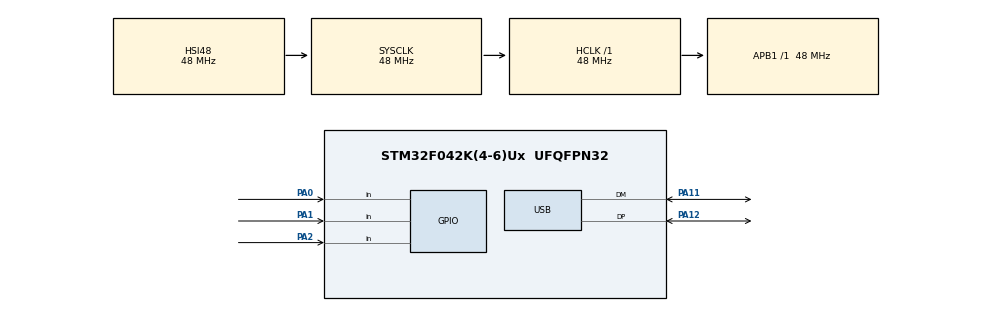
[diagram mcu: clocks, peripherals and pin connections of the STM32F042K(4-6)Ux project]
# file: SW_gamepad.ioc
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FREERTOS.BinarySemaphores01=myBinarySem01,Dynamic,NULL
FREERTOS.Tasks01=defaultTask,0,128,StartDefaultTask,Default,NULL
Mcu.Family=STM32F0
Mcu.Name=STM32F042K(4-6)Ux
Mcu.Package=UFQFPN32
NVIC.TIM3_IRQn=true\:0\:0\:false\:false\:true\:false\:false
NVIC.TimeBase=TIM3_IRQn
NVIC.TimeBaseIP=TIM3
PA0.Signal=GPIO_Input
PA1.Signal=GPIO_Input
PA11.Mode=Device
PA11.Signal=USB_DM
PA12.Mode=Device
PA12.Signal=USB_DP
PA2.Signal=GPIO_Input
PF0-OSC_IN.Mode=HSE-External-Oscillator
PF0-OSC_IN.Signal=RCC_OSC_IN
PF1-OSC_OUT.Mode=HSE-External-Oscillator
PF1-OSC_OUT.Signal=RCC_OSC_OUT
ProjectManager.HeapSize=0x0
ProjectManager.StackSize=0x400
ProjectManager.TargetToolchain=TrueSTUDIO
RCC.AHBFreq_Value=48000000
RCC.APB1Freq_Value=48000000
RCC.APB1TimFreq_Value=48000000
RCC.HCLKFreq_Value=48000000
RCC.HSE_VALUE=24000000
RCC.SYSCLKFreq_VALUE=48000000
RCC.SYSCLKSource=RCC_SYSCLKSOURCE_HSI48
RCC.USBClockSelection=RCC_USBCLKSOURCE_PLL
VP_FREERTOS_VS_ENABLE.Mode=Enabled
VP_SYS_VS_tim3.Mode=TIM3
board=custom

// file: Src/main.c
/* USER CODE BEGIN Header */
/**
  ******************************************************************************
  * @file           : main.c
  * @brief          : Main program body
  ******************************************************************************
  * This notice applies to any and all portions of this file
  * that are not between comment pairs USER CODE BEGIN and
  * USER CODE END. Other portions of this file, whether
  * inserted by the user or by software development tools
  * are owned by their respective copyright owners.
  *
  * Copyright (c) 2019 STMicroelectronics International N.V.
  * All rights reserved.
  *
  * Redistribution and use in source and binary forms, with or without
  * modification, are permitted, provided that the following conditions are met:
  *
  * 1. Redistribution of source code must retain the above copyright notice,
  *    this list of conditions and the following disclaimer.
  * 2. Redistributions in binary form must reproduce the above copyright notice,
  *    this list of conditions and the following disclaimer in the documentation
  *    and/or other materials provided with the distribution.
  * 3. Neither the name of STMicroelectronics nor the names of other
  *    contributors to this software may be used to endorse or promote products
  *    derived from this software without specific written permission.
  * 4. This software, including modifications and/or derivative works of this
  *    software, must execute solely and exclusively on microcontroller or
  *    microprocessor devices manufactured by or for STMicroelectronics.
  * 5. Redistribution and use of this software other than as permitted under
  *    this license is void and will automatically terminate your rights under
  *    this license.
  *
  * THIS SOFTWARE IS PROVIDED BY STMICROELECTRONICS AND CONTRIBUTORS "AS IS"
  * AND ANY EXPRESS, IMPLIED OR STATUTORY WARRANTIES, INCLUDING, BUT NOT
  * LIMITED TO, THE IMPLIED WARRANTIES OF MERCHANTABILITY, FITNESS FOR A
  * PARTICULAR PURPOSE AND NON-INFRINGEMENT OF THIRD PARTY INTELLECTUAL PROPERTY
  * RIGHTS ARE DISCLAIMED TO THE FULLEST EXTENT PERMITTED BY LAW. IN NO EVENT
  * SHALL STMICROELECTRONICS OR CONTRIBUTORS BE LIABLE FOR ANY DIRECT, INDIRECT,
  * INCIDENTAL, SPECIAL, EXEMPLARY, OR CONSEQUENTIAL DAMAGES (INCLUDING, BUT NOT
  * LIMITED TO, PROCUREMENT OF SUBSTITUTE GOODS OR SERVICES; LOSS OF USE, DATA,
  * OR PROFITS; OR BUSINESS INTERRUPTION) HOWEVER CAUSED AND ON ANY THEORY OF
  * LIABILITY, WHETHER IN CONTRACT, STRICT LIABILITY, OR TORT (INCLUDING
  * NEGLIGENCE OR OTHERWISE) ARISING IN ANY WAY OUT OF THE USE OF THIS SOFTWARE,
  * EVEN IF ADVISED OF THE POSSIBILITY OF SUCH DAMAGE.
  *
  ******************************************************************************
  */
/* USER CODE END Header */

#include "main.h"
#include "cmsis_os.h"

/* USER CODE BEGIN Includes */
#include "usb.h"
/* USER CODE END Includes */

/* USER CODE BEGIN PTD */
typedef struct
{
	uint8_t report_id;
	uint8_t buttons;
	int8_t lx;
	int8_t ly;
	int8_t rx;
	int8_t ry;
} gamepad_report_t;

/* USER CODE END PTD */

PCD_HandleTypeDef hpcd_USB_FS;

osThreadId defaultTaskHandle;
osSemaphoreId myBinarySem01Handle;
/* USER CODE BEGIN PV */
extern usbd_device udev;
extern volatile gamepad_report_t gamepad;

/* USER CODE END PV */

void SystemClock_Config(void);
static void MX_GPIO_Init(void);
static void MX_USB_PCD_Init(void);
void StartDefaultTask(void const * argument);

int main(void)
{

  /* MCU Configuration--------------------------------------------------------*/

  /* Reset of all peripherals, Initializes the Flash interface and the Systick. */
  HAL_Init();

  /* Configure the system clock */
  SystemClock_Config();

  /* Initialize all configured peripherals */
  MX_GPIO_Init();
  MX_USB_PCD_Init();
  /* USER CODE BEGIN 2 */
  hid_init_usbd();
  usbd_enable(&udev, true);
  usbd_connect(&udev, true);

  HAL_NVIC_EnableIRQ(USB_IRQn);

  /* USER CODE END 2 */

  /* Create the semaphores(s) */
  /* definition and creation of myBinarySem01 */
  osSemaphoreDef(myBinarySem01);
  myBinarySem01Handle = osSemaphoreCreate(osSemaphore(myBinarySem01), 1);

  /* Create the thread(s) */
  /* definition and creation of defaultTask */
  osThreadDef(defaultTask, StartDefaultTask, osPriorityNormal, 0, 128);
  defaultTaskHandle = osThreadCreate(osThread(defaultTask), NULL);

  /* Start scheduler */
  osKernelStart();

  /* We should never get here as control is now taken by the scheduler */

  /* Infinite loop */
  while (1)
  {

  }
}

void SystemClock_Config(void)
{
  RCC_OscInitTypeDef RCC_OscInitStruct = {0};
  RCC_ClkInitTypeDef RCC_ClkInitStruct = {0};
  RCC_PeriphCLKInitTypeDef PeriphClkInit = {0};

  /**Initializes the CPU, AHB and APB busses clocks
  */
  RCC_OscInitStruct.OscillatorType = RCC_OSCILLATORTYPE_HSI48|RCC_OSCILLATORTYPE_HSE;
  RCC_OscInitStruct.HSEState = RCC_HSE_ON;
  RCC_OscInitStruct.HSI48State = RCC_HSI48_ON;
  RCC_OscInitStruct.PLL.PLLState = RCC_PLL_ON;
  RCC_OscInitStruct.PLL.PLLSource = RCC_PLLSOURCE_HSE;
  RCC_OscInitStruct.PLL.PLLMUL = RCC_PLL_MUL2;
  RCC_OscInitStruct.PLL.PREDIV = RCC_PREDIV_DIV1;
  if (HAL_RCC_OscConfig(&RCC_OscInitStruct) != HAL_OK)
  {
    Error_Handler();
  }
  /**Initializes the CPU, AHB and APB busses clocks
  */
  RCC_ClkInitStruct.ClockType = RCC_CLOCKTYPE_HCLK|RCC_CLOCKTYPE_SYSCLK
                              |RCC_CLOCKTYPE_PCLK1;
  RCC_ClkInitStruct.SYSCLKSource = RCC_SYSCLKSOURCE_HSI48;
  RCC_ClkInitStruct.AHBCLKDivider = RCC_SYSCLK_DIV1;
  RCC_ClkInitStruct.APB1CLKDivider = RCC_HCLK_DIV1;

  if (HAL_RCC_ClockConfig(&RCC_ClkInitStruct, FLASH_LATENCY_1) != HAL_OK)
  {
    Error_Handler();
  }
  PeriphClkInit.PeriphClockSelection = RCC_PERIPHCLK_USB;
  PeriphClkInit.UsbClockSelection = RCC_USBCLKSOURCE_PLL;

  if (HAL_RCCEx_PeriphCLKConfig(&PeriphClkInit) != HAL_OK)
  {
    Error_Handler();
  }
}

static void MX_USB_PCD_Init(void)
{

  hpcd_USB_FS.Instance = USB;
  hpcd_USB_FS.Init.dev_endpoints = 8;
  hpcd_USB_FS.Init.speed = PCD_SPEED_FULL;
  hpcd_USB_FS.Init.ep0_mps = DEP0CTL_MPS_64;
  hpcd_USB_FS.Init.phy_itface = PCD_PHY_EMBEDDED;
  hpcd_USB_FS.Init.low_power_enable = DISABLE;
  hpcd_USB_FS.Init.lpm_enable = DISABLE;
  hpcd_USB_FS.Init.battery_charging_enable = DISABLE;
  if (HAL_PCD_Init(&hpcd_USB_FS) != HAL_OK)
  {
    Error_Handler();
  }

}

static void MX_GPIO_Init(void)
{
  GPIO_InitTypeDef GPIO_InitStruct = {0};

  /* GPIO Ports Clock Enable */
  __HAL_RCC_GPIOF_CLK_ENABLE();
  __HAL_RCC_GPIOA_CLK_ENABLE();

  /*Configure GPIO pins : PA0 PA1 PA2 */
  GPIO_InitStruct.Pin = GPIO_PIN_0|GPIO_PIN_1|GPIO_PIN_2;
  GPIO_InitStruct.Mode = GPIO_MODE_INPUT;
  GPIO_InitStruct.Pull = GPIO_NOPULL;
  HAL_GPIO_Init(GPIOA, &GPIO_InitStruct);

}

void StartDefaultTask(void const * argument)
{

  /* USER CODE BEGIN 5 */
  /* Infinite loop */
  for(;;)
  {
	gamepad.buttons = (uint8_t)HAL_GPIO_ReadPin(GPIOA,0xff);
    osDelay(10);
  }
  /* USER CODE END 5 */
}

void HAL_TIM_PeriodElapsedCallback(TIM_HandleTypeDef *htim)
{
  if (htim->Instance == TIM3) {
    HAL_IncTick();
  }
}

void Error_Handler(void)
{
}

/************************ (C) COPYRIGHT STMicroelectronics *****END OF FILE****/
